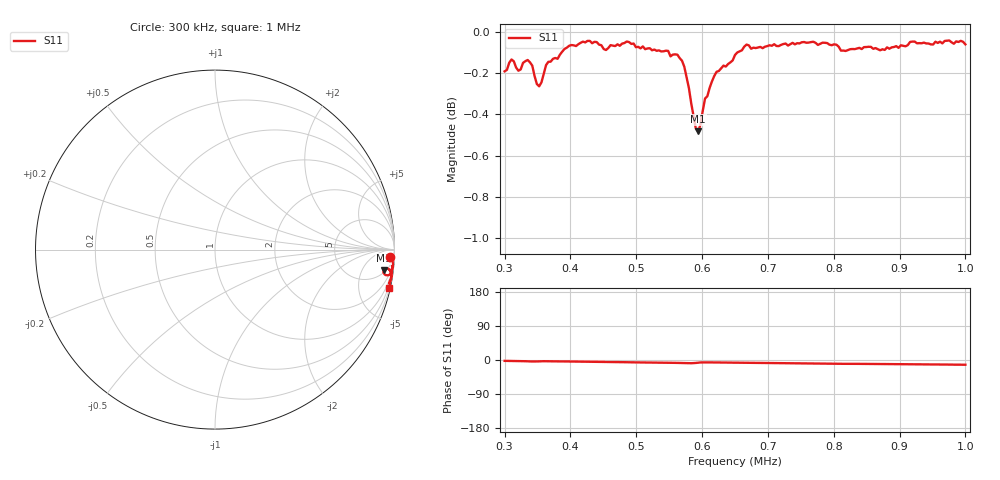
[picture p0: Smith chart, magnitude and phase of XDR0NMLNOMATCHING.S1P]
!Agilent Technologies,E5071C,MY46100305,A.07.02
!Date: Fri Jan 01 00:24:25 1988
!Data & Calibration Information:
!Freq	S11:SOLT1(ON)
# Hz S MA R 50
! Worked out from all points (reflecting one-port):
!   201 points, 300 kHz to 1 MHz, reference 50 ohm
!   lowest |S11| = -0.5 dB at 594 kHz (marker M1), VSWR 36.03, Z = 305 - j674 ohm
!   phase of S11 starts at -2 deg and turns -10 deg over the sweep
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300000  0.9783 -2.3
310500  0.9849 -2.9
317500  0.9804 -3.2
328000  0.983 -3.0
342000  0.9815 -3.9
352500  0.9702 -3.5
359500  0.9771 -3.2
366500  0.9836 -3.3
387500  0.9892 -3.8
440000  0.9945 -5.2
454000  0.9901 -5.3
475000  0.9924 -5.6
562500  0.9875 -7.7
573000  0.9808 -8.3
583500  0.961 -8.5
590500  0.9475 -7.8
594000  0.946 -7.1
597500  0.9495 -6.5
601000  0.957 -6.3
618500  0.9758 -6.4
650000  0.9873 -7.0
667500  0.9931 -7.5
737500  0.9941 -8.7
807500  0.9919 -10.0
825000  0.9905 -10.1
912500  0.9928 -11.1
923000  0.9948 -11.4
1000000  0.9932 -12.5
